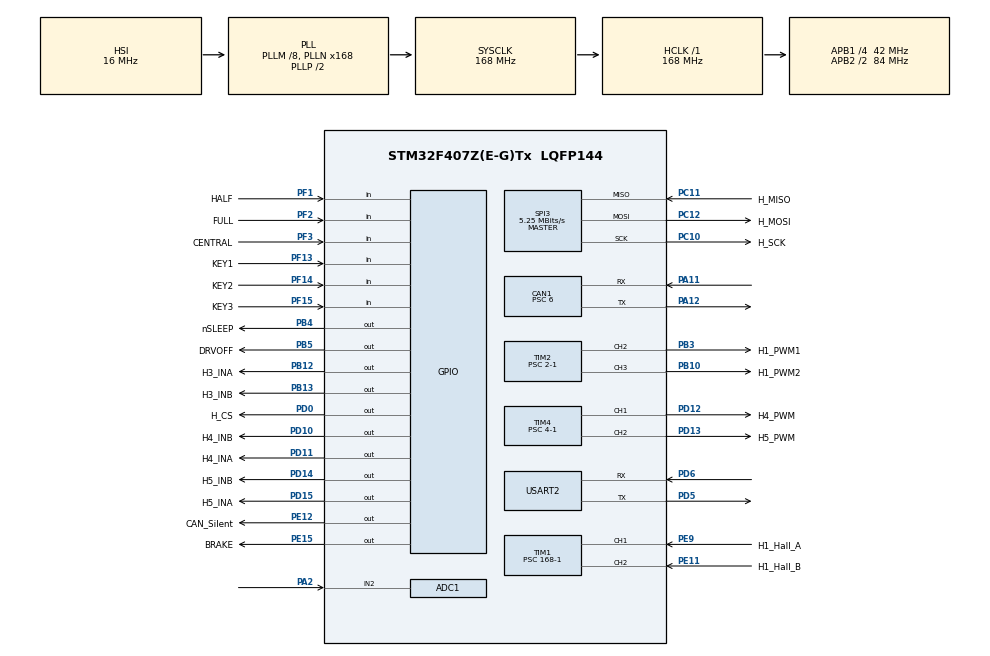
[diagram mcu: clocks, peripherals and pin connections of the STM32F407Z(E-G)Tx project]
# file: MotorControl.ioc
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ADC1.Channel-0\#ChannelRegularConversion=ADC_CHANNEL_2
ADC1.DMAContinuousRequests=ENABLE
ADC1.ExternalTrigConv=ADC_EXTERNALTRIGCONV_T2_TRGO
ADC1.NbrOfConversion=1
ADC1.NbrOfConversionFlag=1
ADC1.Rank-0\#ChannelRegularConversion=1
ADC1.SamplingTime-0\#ChannelRegularConversion=ADC_SAMPLETIME_3CYCLES
ADC1.master=1
CAN1.BS1=CAN_BS1_7TQ
CAN1.BS2=CAN_BS2_6TQ
CAN1.CalculateBaudRate=500000
CAN1.CalculateTimeBit=2000
CAN1.CalculateTimeQuantum=142.85714285714286
CAN1.Prescaler=6
Dma.ADC1.0.Direction=DMA_PERIPH_TO_MEMORY
Dma.ADC1.0.FIFOMode=DMA_FIFOMODE_DISABLE
Dma.ADC1.0.Instance=DMA2_Stream0
Dma.ADC1.0.MemDataAlignment=DMA_MDATAALIGN_HALFWORD
Dma.ADC1.0.MemInc=DMA_MINC_ENABLE
Dma.ADC1.0.Mode=DMA_CIRCULAR
Dma.ADC1.0.PeriphDataAlignment=DMA_PDATAALIGN_HALFWORD
Dma.ADC1.0.PeriphInc=DMA_PINC_DISABLE
Dma.ADC1.0.Priority=DMA_PRIORITY_LOW
Dma.Request0=ADC1
Mcu.Family=STM32F4
Mcu.Name=STM32F407Z(E-G)Tx
Mcu.Package=LQFP144
NVIC.CAN1_RX0_IRQn=true\:4\:0\:true\:false\:true\:true\:true\:true
NVIC.CAN1_TX_IRQn=true\:4\:0\:true\:false\:true\:true\:true\:true
NVIC.DMA2_Stream0_IRQn=true\:0\:0\:false\:false\:true\:false\:true\:true
NVIC.PriorityGroup=NVIC_PRIORITYGROUP_4
NVIC.TIM1_CC_IRQn=true\:1\:0\:true\:false\:true\:true\:true\:true
NVIC.TIM1_UP_TIM10_IRQn=true\:1\:0\:true\:false\:true\:true\:true\:true
NVIC.TIM6_DAC_IRQn=true\:2\:0\:true\:false\:true\:true\:true\:true
NVIC.TIM7_IRQn=true\:15\:0\:false\:false\:true\:false\:true\:true
NVIC.TimeBase=TIM7_IRQn
NVIC.TimeBaseIP=TIM7
PA11.Mode=CAN_Activate
PA11.Signal=CAN1_RX
PA12.Mode=CAN_Activate
PA12.Signal=CAN1_TX
PA13.Mode=Serial_Wire
PA13.Signal=SYS_JTMS-SWDIO
PA14.Mode=Serial_Wire
PA14.Signal=SYS_JTCK-SWCLK
PA2.Signal=ADCx_IN2
PB10.GPIO_Label=H1_PWM2
PB10.Signal=S_TIM2_CH3
PB12.GPIO_Label=H3_INA
PB12.GPIO_Speed=GPIO_SPEED_FREQ_MEDIUM
PB12.Signal=GPIO_Output
PB13.GPIO_Label=H3_INB
PB13.GPIO_Speed=GPIO_SPEED_FREQ_MEDIUM
PB13.Signal=GPIO_Output
PB3.GPIO_Label=H1_PWM1
PB3.Signal=S_TIM2_CH2
PB4.GPIO_Label=nSLEEP
PB4.PinState=GPIO_PIN_SET
PB4.Signal=GPIO_Output
PB5.GPIO_Label=DRVOFF
PB5.Signal=GPIO_Output
PC10.GPIO_Label=H_SCK
PC10.Mode=Full_Duplex_Master
PC10.Signal=SPI3_SCK
PC11.GPIO_Label=H_MISO
PC11.Mode=Full_Duplex_Master
PC11.Signal=SPI3_MISO
PC12.GPIO_Label=H_MOSI
PC12.Mode=Full_Duplex_Master
PC12.Signal=SPI3_MOSI
PC14-OSC32_IN.Mode=LSE-External-Oscillator
PC14-OSC32_IN.Signal=RCC_OSC32_IN
PC15-OSC32_OUT.Mode=LSE-External-Oscillator
PC15-OSC32_OUT.Signal=RCC_OSC32_OUT
PD0.GPIO_Label=H_CS
PD0.GPIO_PuPd=GPIO_PULLUP
PD0.GPIO_Speed=GPIO_SPEED_FREQ_HIGH
PD0.PinState=GPIO_PIN_SET
PD0.Signal=GPIO_Output
PD10.GPIO_Label=H4_INB
PD10.GPIO_Speed=GPIO_SPEED_FREQ_MEDIUM
PD10.PinState=GPIO_PIN_RESET
PD10.Signal=GPIO_Output
PD11.GPIO_Label=H4_INA
PD11.GPIO_Speed=GPIO_SPEED_FREQ_MEDIUM
PD11.PinState=GPIO_PIN_RESET
PD11.Signal=GPIO_Output
PD12.GPIO_Label=H4_PWM
PD12.GPIO_Speed=GPIO_SPEED_FREQ_HIGH
PD12.Signal=S_TIM4_CH1
PD13.GPIO_Label=H5_PWM
PD13.GPIO_Speed=GPIO_SPEED_FREQ_HIGH
PD13.Signal=S_TIM4_CH2
PD14.GPIO_Label=H5_INB
PD14.GPIO_Speed=GPIO_SPEED_FREQ_MEDIUM
PD14.PinState=GPIO_PIN_RESET
PD14.Signal=GPIO_Output
PD15.GPIO_Label=H5_INA
PD15.GPIO_Speed=GPIO_SPEED_FREQ_MEDIUM
PD15.PinState=GPIO_PIN_RESET
PD15.Signal=GPIO_Output
PD5.Mode=Asynchronous
PD5.Signal=USART2_TX
PD6.Mode=Asynchronous
PD6.Signal=USART2_RX
PE11.GPIO_Label=H1_Hall_B
PE11.Signal=S_TIM1_CH2
PE12.GPIO_Label=CAN_Silent
PE12.Signal=GPIO_Output
PE15.GPIO_Label=BRAKE
PE15.Signal=GPIO_Output
PE9.GPIO_Label=H1_Hall_A
PE9.Signal=S_TIM1_CH1
PF1.GPIO_Label=HALF
PF1.GPIO_PuPd=GPIO_PULLUP
PF1.Signal=GPIO_Input
PF13.GPIO_Label=KEY1
PF13.GPIO_PuPd=GPIO_PULLUP
PF13.Signal=GPIO_Input
PF14.GPIO_Label=KEY2
PF14.GPIO_PuPd=GPIO_PULLUP
PF14.Signal=GPIO_Input
PF15.GPIO_Label=KEY3
PF15.GPIO_PuPd=GPIO_PULLUP
PF15.Signal=GPIO_Input
PF2.GPIO_Label=FULL
PF2.GPIO_PuPd=GPIO_PULLUP
PF2.Signal=GPIO_Input
PF3.GPIO_Label=CENTRAL
PF3.GPIO_PuPd=GPIO_PULLUP
PF3.Signal=GPIO_Input
PH0-OSC_IN.Mode=HSE-External-Oscillator
PH0-OSC_IN.Signal=RCC_OSC_IN
PH1-OSC_OUT.Mode=HSE-External-Oscillator
PH1-OSC_OUT.Signal=RCC_OSC_OUT
ProjectManager.HeapSize=0x200
ProjectManager.StackSize=0x400
ProjectManager.TargetToolchain=MDK-ARM V5
RCC.48MHZClocksFreq_Value=84000000
RCC.AHBFreq_Value=168000000
RCC.APB1CLKDivider=RCC_HCLK_DIV4
RCC.APB1Freq_Value=42000000
RCC.APB1TimFreq_Value=84000000
RCC.APB2CLKDivider=RCC_HCLK_DIV2
RCC.APB2Freq_Value=84000000
RCC.APB2TimFreq_Value=168000000
RCC.CortexFreq_Value=168000000
RCC.HCLKFreq_Value=168000000
RCC.HSE_VALUE=8000000
RCC.HSI_VALUE=16000000
RCC.PLLM=8
RCC.PLLN=168
RCC.SYSCLKFreq_VALUE=168000000
RCC.SYSCLKSource=RCC_SYSCLKSOURCE_PLLCLK
RCC.VCOOutputFreq_Value=336000000
SH.ADCx_IN2.0=ADC1_IN2,IN2
SH.S_TIM1_CH1.0=TIM1_CH1,Input_Capture1_from_TI1
SH.S_TIM1_CH2.0=TIM1_CH2,Input_Capture2_from_TI2
SH.S_TIM2_CH2.0=TIM2_CH2,PWM Generation2 CH2
SH.S_TIM2_CH3.0=TIM2_CH3,PWM Generation3 CH3
SH.S_TIM4_CH1.0=TIM4_CH1,PWM Generation1 CH1
SH.S_TIM4_CH2.0=TIM4_CH2,PWM Generation2 CH2
SPI3.BaudRatePrescaler=SPI_BAUDRATEPRESCALER_8
SPI3.CLKPhase=SPI_PHASE_2EDGE
SPI3.CalculateBaudRate=5.25 MBits/s
SPI3.DataSize=SPI_DATASIZE_16BIT
SPI3.Direction=SPI_DIRECTION_2LINES
SPI3.Mode=SPI_MODE_MASTER
SPI3.VirtualType=VM_MASTER
TIM1.Channel-Input_Capture1_from_TI1=TIM_CHANNEL_1
TIM1.Channel-Input_Capture2_from_TI2=TIM_CHANNEL_2
TIM1.ICFilter_CH1=8-1
TIM1.ICFilter_CH2=16-1
TIM1.ICPolarity_CH1=TIM_INPUTCHANNELPOLARITY_BOTHEDGE
TIM1.ICPolarity_CH2=TIM_INPUTCHANNELPOLARITY_BOTHEDGE
TIM1.Period=50000-1
TIM1.Prescaler=168-1
TIM2.AutoReloadPreload=TIM_AUTORELOAD_PRELOAD_ENABLE
TIM2.Channel-PWM\ Generation1\ No\ Output=TIM_CHANNEL_1
TIM2.Channel-PWM\ Generation2\ CH2=TIM_CHANNEL_2
TIM2.Channel-PWM\ Generation3\ CH3=TIM_CHANNEL_3
TIM2.CounterMode=TIM_COUNTERMODE_CENTERALIGNED3
TIM2.Period=1000-1
TIM2.Prescaler=2-1
TIM2.Pulse-PWM\ Generation1\ No\ Output=2
TIM2.TIM_MasterOutputTrigger=TIM_TRGO_OC1REF
TIM4.Channel-PWM\ Generation1\ CH1=TIM_CHANNEL_1
TIM4.Channel-PWM\ Generation2\ CH2=TIM_CHANNEL_2
TIM4.Period=1000-1
TIM4.Prescaler=4-1
TIM6.Period=1000-1
TIM6.Prescaler=84-1
USART2.VirtualMode=VM_ASYNC
VP_SYS_VS_tim7.Mode=TIM7
VP_TIM1_VS_ClockSourceINT.Mode=Internal
VP_TIM2_VS_ClockSourceINT.Mode=Internal
VP_TIM2_VS_no_output1.Mode=PWM Generation1 No Output
VP_TIM4_VS_ClockSourceINT.Mode=Internal
VP_TIM6_VS_ClockSourceINT.Mode=Enable_Timer
board=custom

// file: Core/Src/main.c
/* USER CODE BEGIN Header */
/**
  ******************************************************************************
  * @file           : main.c
  * @brief          : Main program body
  ******************************************************************************
  * @attention
  *
  * Copyright (c) 2026 STMicroelectronics.
  * All rights reserved.
  *
  * This software is licensed under terms that can be found in the LICENSE file
  * in the root directory of this software component.
  * If no LICENSE file comes with this software, it is provided AS-IS.
  *
  ******************************************************************************
  */
/* USER CODE END Header */
#include "main.h"
#include "adc.h"
#include "can.h"
#include "dma.h"
#include "spi.h"
#include "tim.h"
#include "usart.h"
#include "gpio.h"

/* USER CODE BEGIN Includes */
#include "board_motor_link.h"
#include "current_sense.h"
#include "external_input.h"
#include "quad_encoder.h"
/* USER CODE END Includes */

void SystemClock_Config(void);

int main(void)
{

  /* MCU Configuration--------------------------------------------------------*/

  /* Reset of all peripherals, Initializes the Flash interface and the Systick. */
  HAL_Init();

  /* Configure the system clock */
  SystemClock_Config();

  /* Initialize all configured peripherals */
  MX_GPIO_Init();
  MX_DMA_Init();
  MX_ADC1_Init();
  MX_CAN1_Init();
  MX_SPI3_Init();
  MX_TIM1_Init();
  MX_TIM2_Init();
  MX_TIM4_Init();
  MX_USART2_UART_Init();
  MX_TIM6_Init();
  /* USER CODE BEGIN 2 */
  /*
   * 初始化 H1 车门电机、H4 解锁电机和 H5 吸合电机。
   * FreeRTOS TODO: 引入 RTOS 后，将该调用整体移入系统初始化任务，并确保
   * 所有电机控制任务在初始化成功后才启动；下方 HAL 中断回调仍保留在 ISR。
   */
  if (BoardMotorLink_Init() != MOTOR_OK)
  {
    Error_Handler();
  }
  /*
   * 裸机阶段由 TIM6 每 1 ms 驱动输入去抖。FreeRTOS 阶段不再启动 TIM6，
   * 改由传感器任务周期调用 ExternalInput_Service()。
   */
  if (ExternalInput_Init() != EXTERNAL_INPUT_OK)
  {
    Error_Handler();
  }
  if (HAL_TIM_Base_Start_IT(&htim6) != HAL_OK)
  {
    Error_Handler();
  }
  /* USER CODE END 2 */

  /* Infinite loop */
  while (1)
  {

    /* USER CODE BEGIN 3 */
    /* FreeRTOS 下将此周期服务整体移入唯一的电机控制任务。 */
    if (BoardMotorLink_Service() != MOTOR_OK)
    {
      Error_Handler();
    }
  }
  /* USER CODE END 3 */
}

void SystemClock_Config(void)
{
  RCC_OscInitTypeDef RCC_OscInitStruct = {0};
  RCC_ClkInitTypeDef RCC_ClkInitStruct = {0};

  /** Configure the main internal regulator output voltage
  */
  __HAL_RCC_PWR_CLK_ENABLE();
  __HAL_PWR_VOLTAGESCALING_CONFIG(PWR_REGULATOR_VOLTAGE_SCALE1);

  /** Initializes the RCC Oscillators according to the specified parameters
  * in the RCC_OscInitTypeDef structure.
  */
  RCC_OscInitStruct.OscillatorType = RCC_OSCILLATORTYPE_HSI;
  RCC_OscInitStruct.HSIState = RCC_HSI_ON;
  RCC_OscInitStruct.HSICalibrationValue = RCC_HSICALIBRATION_DEFAULT;
  RCC_OscInitStruct.PLL.PLLState = RCC_PLL_ON;
  RCC_OscInitStruct.PLL.PLLSource = RCC_PLLSOURCE_HSI;
  RCC_OscInitStruct.PLL.PLLM = 8;
  RCC_OscInitStruct.PLL.PLLN = 168;
  RCC_OscInitStruct.PLL.PLLP = RCC_PLLP_DIV2;
  RCC_OscInitStruct.PLL.PLLQ = 4;
  if (HAL_RCC_OscConfig(&RCC_OscInitStruct) != HAL_OK)
  {
    Error_Handler();
  }

  /** Initializes the CPU, AHB and APB buses clocks
  */
  RCC_ClkInitStruct.ClockType = RCC_CLOCKTYPE_HCLK|RCC_CLOCKTYPE_SYSCLK
                              |RCC_CLOCKTYPE_PCLK1|RCC_CLOCKTYPE_PCLK2;
  RCC_ClkInitStruct.SYSCLKSource = RCC_SYSCLKSOURCE_PLLCLK;
  RCC_ClkInitStruct.AHBCLKDivider = RCC_SYSCLK_DIV1;
  RCC_ClkInitStruct.APB1CLKDivider = RCC_HCLK_DIV4;
  RCC_ClkInitStruct.APB2CLKDivider = RCC_HCLK_DIV2;

  if (HAL_RCC_ClockConfig(&RCC_ClkInitStruct, FLASH_LATENCY_5) != HAL_OK)
  {
    Error_Handler();
  }
}

/* USER CODE BEGIN 4 */

void HAL_ADC_ConvHalfCpltCallback(ADC_HandleTypeDef *hadc)
{
  CurrentSense_ConvHalfCpltCallback(hadc);
}

void HAL_ADC_ConvCpltCallback(ADC_HandleTypeDef *hadc)
{
  CurrentSense_ConvCpltCallback(hadc);
}

void HAL_ADC_ErrorCallback(ADC_HandleTypeDef *hadc)
{
  CurrentSense_ErrorCallback(hadc);
}

/* USER CODE END 4 */

void HAL_TIM_PeriodElapsedCallback(TIM_HandleTypeDef *htim)
{
  /* USER CODE BEGIN Callback 0 */
  if (htim->Instance == TIM6)
  {
    /* ISR 只采样、去抖和发布事件，不执行任何车门或电机业务。 */
    (void)ExternalInput_Service(1U);
  }
  /* USER CODE END Callback 0 */
  if (htim->Instance == TIM7)
  {
    HAL_IncTick();
  }
  /* USER CODE BEGIN Callback 1 */
  QuadEncoder_PeriodElapsedCallback(htim);  /* TIM1 溢出计数，用于 T 法测速 */
  /* USER CODE END Callback 1 */
}

void Error_Handler(void)
{
  __disable_irq();
  while (1)
  {
  }
}
